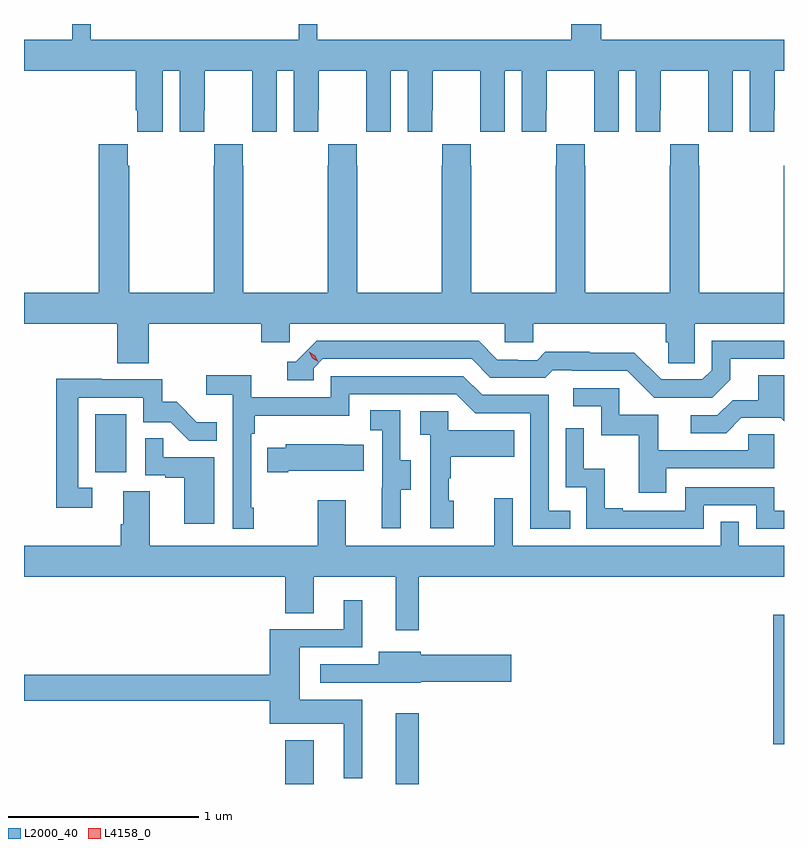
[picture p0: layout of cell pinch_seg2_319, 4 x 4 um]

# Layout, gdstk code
import gdstk
lib = gdstk.Library(unit=1e-6, precision=1e-09)
def R(c, l, rs):  # rectangles x0, y0, x1, y1
    for r in rs: c.add(gdstk.rectangle(r[:2], r[2:], *l))
def P(c, l, *ps):  # polygons
    for p in ps: c.add(gdstk.Polygon(p, *l))
L2000_40 = (2000, 40)
L4158_0 = (4158, 0)

pinch_seg2_319 = lib.new_cell('pinch_seg2_319')
R(pinch_seg2_319, L2000_40, [(910.019,623.902,910.171,624.133), (910.601,623.902,910.723,624.274), (912.589,624.112,912.645,624.793), (909.02,625.542,909.184,625.849)])
P(pinch_seg2_319, L2000_40, [(911.684,627.902),(911.524,627.902),(911.524,627.82),(910.188,627.82),(910.188,627.902),(910.092,627.902),(910.092,627.82),(908.997,627.82),(908.997,627.902),(908.9,627.902),(908.9,627.82),(908.645,627.82),(908.645,627.656),(909.233,627.656),(909.233,627.448),(909.242,627.448),(909.242,627.336),(909.376,627.336),(909.376,627.656),(909.464,627.656),(909.464,627.336),(909.594,627.336),(909.594,627.448),(909.595,627.448),(909.595,627.656),(909.845,627.656),(909.845,627.448),(909.846,627.448),(909.846,627.336),(909.976,627.336),(909.976,627.656),(910.064,627.656),(910.064,627.336),(910.194,627.336),(910.194,627.448),(910.195,627.448),(910.195,627.656),(910.445,627.656),(910.445,627.448),(910.446,627.448),(910.446,627.336),(910.576,627.336),(910.576,627.656),(910.664,627.656),(910.664,627.336),(910.794,627.336),(910.794,627.448),(910.795,627.448),(910.795,627.656),(911.045,627.656),(911.045,627.448),(911.046,627.448),(911.046,627.336),(911.176,627.336),(911.176,627.656),(911.264,627.656),(911.264,627.336),(911.394,627.336),(911.394,627.448),(911.395,627.448),(911.395,627.656),(911.645,627.656),(911.645,627.448),(911.646,627.448),(911.646,627.336),(911.776,627.336),(911.776,627.656),(911.864,627.656),(911.864,627.336),(911.994,627.336),(911.994,627.448),(911.995,627.448),(911.995,627.656),(912.245,627.656),(912.245,627.448),(912.246,627.448),(912.246,627.336),(912.376,627.336),(912.376,627.656),(912.464,627.656),(912.464,627.336),(912.594,627.336),(912.594,627.448),(912.595,627.448),(912.595,627.656),(912.645,627.656),(912.645,627.82),(911.684,627.82)],
  [(909.302,626.324),(909.893,626.324),(909.893,626.226),(910.044,626.226),(910.044,626.324),(911.175,626.324),(911.175,626.226),(911.325,626.226),(911.325,626.324),(912.023,626.324),(912.023,626.226),(912.037,626.226),(912.037,626.116),(912.174,626.116),(912.174,626.324),(912.645,626.324),(912.645,627.155),(912.643,627.155),(912.643,626.488),(912.198,626.488),(912.198,627.155),(912.195,627.155),(912.195,627.268),(912.045,627.268),(912.045,627.155),(912.043,627.155),(912.043,626.488),(911.598,626.488),(911.598,627.155),(911.595,627.155),(911.595,627.268),(911.445,627.268),(911.445,627.155),(911.443,627.155),(911.443,626.488),(910.998,626.488),(910.998,627.155),(910.995,627.155),(910.995,627.268),(910.845,627.268),(910.845,627.155),(910.843,627.155),(910.843,626.488),(910.398,626.488),(910.398,627.155),(910.395,627.155),(910.395,627.268),(910.245,627.268),(910.245,627.155),(910.243,627.155),(910.243,626.488),(909.798,626.488),(909.798,627.155),(909.795,627.155),(909.795,627.268),(909.645,627.268),(909.645,627.155),(909.643,627.155),(909.643,626.488),(909.198,626.488),(909.198,627.155),(909.191,627.155),(909.191,627.268),(909.038,627.268),(909.038,626.488),(908.645,626.488),(908.645,626.324),(909.137,626.324),(909.137,626.116),(909.302,626.116)],
  [(912.361,626.029),(912.361,626.139),(912.645,626.139),(912.645,626.235),(912.264,626.235),(912.264,626.079),(912.216,626.031),(912,626.031),(911.858,626.173),(911.622,626.173),(911.622,626.176),(911.389,626.176),(911.347,626.133),(911.244,626.133),(911.244,626.136),(911.137,626.136),(911.038,626.235),(910.185,626.235),(910.074,626.124),(910.031,626.124),(910.031,626.028),(910.17,626.028),(910.17,626.091),(910.218,626.139),(911.001,626.139),(911.1,626.04),(911.389,626.04),(911.428,626.079),(911.527,626.079),(911.527,626.076),(911.82,626.076),(911.961,625.935),(912.267,625.935)],
  [(909.853,625.357),(909.84,625.357),(909.84,625.745),(909.86,625.745),(909.86,625.841),(910.356,625.841),(910.356,625.953),(910.92,625.953),(911.019,625.854),(911.31,625.854),(911.31,625.245),(911.519,625.245),(911.519,625.341),(911.406,625.341),(911.406,625.95),(911.056,625.95),(910.957,626.049),(910.26,626.049),(910.26,625.938),(909.842,625.938),(909.842,626.054),(909.603,626.054),(909.603,625.952),(909.744,625.952),(909.744,625.245),(909.853,625.245)],
  [(912.421,625.83),(912.627,625.83),(912.645,625.812),(912.645,626.054),(912.509,626.054),(912.509,625.922),(912.374,625.922),(912.294,625.842),(912.153,625.842),(912.153,625.749),(912.34,625.749)],
  [(909.004,625.461),(908.931,625.461),(908.931,625.935),(909.273,625.935),(909.273,625.806),(909.417,625.806),(909.515,625.708),(909.659,625.708),(909.659,625.807),(909.555,625.807),(909.448,625.914),(909.372,625.914),(909.372,626.031),(909.053,626.031),(909.053,626.036),(908.815,626.036),(908.815,625.356),(909.004,625.356)],
  [(912.025,625.563),(912.594,625.563),(912.594,625.743),(912.457,625.743),(912.457,625.659),(911.983,625.659),(911.983,625.845),(911.778,625.845),(911.778,625.986),(911.535,625.986),(911.535,625.89),(911.682,625.89),(911.682,625.737),(911.881,625.737),(911.881,625.434),(912.025,625.434)],
  [(910.627,625.45),(910.681,625.45),(910.681,625.605),(910.626,625.605),(910.626,625.868),(910.467,625.868),(910.467,625.765),(910.53,625.765),(910.53,625.461),(910.529,625.461),(910.529,625.248),(910.627,625.248)],
  [(910.906,625.392),(910.881,625.392),(910.881,625.511),(910.891,625.511),(910.891,625.625),(911.225,625.625),(911.225,625.765),(910.878,625.765),(910.878,625.863),(910.731,625.863),(910.731,625.739),(910.782,625.739),(910.782,625.248),(910.906,625.248)],
  [(912.222,625.368),(912.498,625.368),(912.498,625.245),(912.645,625.245),(912.645,625.341),(912.594,625.341),(912.594,625.464),(912.126,625.464),(912.126,625.341),(911.797,625.341),(911.797,625.354),(911.702,625.354),(911.702,625.562),(911.592,625.562),(911.592,625.774),(911.496,625.774),(911.496,625.464),(911.604,625.464),(911.604,625.245),(912.222,625.245)],
  [(909.646,625.623),(909.377,625.623),(909.377,625.721),(909.282,625.721),(909.282,625.527),(909.389,625.527),(909.389,625.515),(909.488,625.515),(909.488,625.272),(909.646,625.272)],
  [(910.036,625.55),(910.433,625.55),(910.433,625.687),(910.325,625.687),(910.325,625.69),(910.023,625.69),(910.023,625.672),(909.925,625.672),(909.925,625.543),(910.036,625.543)],
  [(910.723,624.992),(912.645,624.992),(912.645,625.156),(912.408,625.156),(912.408,625.283),(912.312,625.283),(912.312,625.156),(911.217,625.156),(911.217,625.405),(911.12,625.405),(911.12,625.156),(910.339,625.156),(910.339,625.396),(910.192,625.396),(910.192,625.156),(909.307,625.156),(909.307,625.442),(909.167,625.442),(909.167,625.268),(909.155,625.268),(909.155,625.156),(908.645,625.156),(908.645,624.992),(910.019,624.992),(910.019,624.802),(910.171,624.802),(910.171,624.992),(910.601,624.992),(910.601,624.711),(910.723,624.711)],
  [(910.426,624.346),(910.096,624.346),(910.096,624.621),(910.426,624.621),(910.426,624.868),(910.328,624.868),(910.328,624.717),(909.938,624.717),(909.938,624.476),(908.645,624.476),(908.645,624.34),(909.938,624.34),(909.938,624.218),(910.328,624.218),(910.328,623.931),(910.426,623.931)],
  [(910.734,624.44),(911.209,624.44),(911.209,624.582),(910.734,624.582),(910.734,624.598),(910.511,624.598),(910.511,624.531),(910.203,624.531),(910.203,624.435),(910.515,624.435),(910.515,624.434),(910.734,624.434)])
P(pinch_seg2_319, L4158_0, [(910.193,626.124),(910.162,626.144),(910.146,626.176),(910.146,626.176),(910.146,626.176),(910.177,626.157),(910.194,626.125),(910.194,626.124)])

lib.write_gds('pinch_seg2_319.gds')
